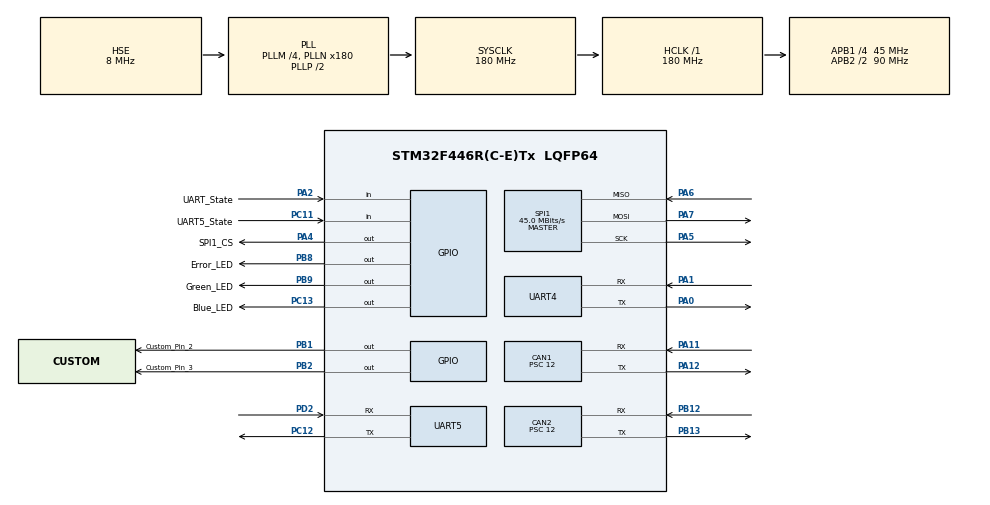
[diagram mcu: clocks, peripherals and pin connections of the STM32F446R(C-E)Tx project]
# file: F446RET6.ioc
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CAN1.BS1=CAN_BS1_11TQ
CAN1.BS2=CAN_BS2_3TQ
CAN1.CalculateBaudRate=250000
CAN1.CalculateTimeBit=4000
CAN1.CalculateTimeQuantum=266.66666666666663
CAN1.NART=ENABLE
CAN1.Prescaler=12
CAN1.TTCM=ENABLE
CAN2.BS1=CAN_BS1_11TQ
CAN2.BS2=CAN_BS2_3TQ
CAN2.CalculateBaudRate=250000
CAN2.CalculateTimeBit=4000
CAN2.CalculateTimeQuantum=266.66666666666663
CAN2.NART=ENABLE
CAN2.Prescaler=12
CAN2.TTCM=ENABLE
Dma.Request0=UART5_TX
Dma.UART5_TX.0.Direction=DMA_MEMORY_TO_PERIPH
Dma.UART5_TX.0.FIFOMode=DMA_FIFOMODE_DISABLE
Dma.UART5_TX.0.Instance=DMA1_Stream7
Dma.UART5_TX.0.MemDataAlignment=DMA_MDATAALIGN_BYTE
Dma.UART5_TX.0.MemInc=DMA_MINC_ENABLE
Dma.UART5_TX.0.Mode=DMA_NORMAL
Dma.UART5_TX.0.PeriphDataAlignment=DMA_PDATAALIGN_BYTE
Dma.UART5_TX.0.PeriphInc=DMA_PINC_DISABLE
Dma.UART5_TX.0.Priority=DMA_PRIORITY_LOW
Mcu.Family=STM32F4
Mcu.Name=STM32F446R(C-E)Tx
Mcu.Package=LQFP64
NVIC.CAN1_RX0_IRQn=true\:0\:0\:false\:false\:true\:true\:true\:true
NVIC.CAN1_RX1_IRQn=true\:0\:0\:false\:false\:true\:true\:true\:true
NVIC.CAN2_RX0_IRQn=true\:0\:0\:false\:false\:true\:true\:true\:true
NVIC.CAN2_RX1_IRQn=true\:0\:0\:false\:false\:true\:true\:true\:true
NVIC.DMA1_Stream7_IRQn=true\:0\:0\:false\:false\:true\:false\:true\:true
NVIC.PriorityGroup=NVIC_PRIORITYGROUP_4
NVIC.TIM8_TRG_COM_TIM14_IRQn=true\:0\:0\:false\:false\:true\:true\:true\:true
NVIC.UART4_IRQn=true\:0\:0\:false\:false\:true\:true\:true\:true
NVIC.UART5_IRQn=true\:0\:0\:false\:false\:true\:true\:true\:true
PA0-WKUP.Mode=Asynchronous
PA0-WKUP.Signal=UART4_TX
PA1.Mode=Asynchronous
PA1.Signal=UART4_RX
PA11.Mode=CAN_Activate
PA11.Signal=CAN1_RX
PA12.Mode=CAN_Activate
PA12.Signal=CAN1_TX
PA13.Mode=Serial_Wire
PA13.Signal=SYS_JTMS-SWDIO
PA14.Mode=Serial_Wire
PA14.Signal=SYS_JTCK-SWCLK
PA2.GPIO_Label=UART_State
PA2.Signal=GPIO_Input
PA4.GPIO_Label=SPI1_CS
PA4.Signal=GPIO_Output
PA5.Mode=Full_Duplex_Master
PA5.Signal=SPI1_SCK
PA6.Mode=Full_Duplex_Master
PA6.Signal=SPI1_MISO
PA7.Mode=Full_Duplex_Master
PA7.Signal=SPI1_MOSI
PB1.GPIO_Label=Custom_Pin_2
PB1.Signal=GPIO_Output
PB12.Mode=CAN_Activate
PB12.Signal=CAN2_RX
PB13.Mode=CAN_Activate
PB13.Signal=CAN2_TX
PB2.GPIO_Label=Custom_Pin_3
PB2.Signal=GPIO_Output
PB8.GPIO_Label=Error_LED
PB8.Signal=GPIO_Output
PB9.GPIO_Label=Green_LED
PB9.Signal=GPIO_Output
PC11.GPIO_Label=UART5_State
PC11.Signal=GPIO_Input
PC12.Mode=Asynchronous
PC12.Signal=UART5_TX
PC13.GPIO_Label=Blue_LED
PC13.Signal=GPIO_Output
PC14-OSC32_IN.Mode=LSE-External-Oscillator
PC14-OSC32_IN.Signal=RCC_OSC32_IN
PC15-OSC32_OUT.Mode=LSE-External-Oscillator
PC15-OSC32_OUT.Signal=RCC_OSC32_OUT
PD2.Mode=Asynchronous
PD2.Signal=UART5_RX
PH0-OSC_IN.Mode=HSE-External-Oscillator
PH0-OSC_IN.Signal=RCC_OSC_IN
PH1-OSC_OUT.Mode=HSE-External-Oscillator
PH1-OSC_OUT.Signal=RCC_OSC_OUT
ProjectManager.HeapSize=0x200
ProjectManager.StackSize=0x400
ProjectManager.TargetToolchain=MDK-ARM V5.32
RCC.AHBFreq_Value=180000000
RCC.APB1CLKDivider=RCC_HCLK_DIV4
RCC.APB1Freq_Value=45000000
RCC.APB1TimFreq_Value=90000000
RCC.APB2CLKDivider=RCC_HCLK_DIV2
RCC.APB2Freq_Value=90000000
RCC.APB2TimFreq_Value=180000000
RCC.CortexFreq_Value=180000000
RCC.HCLKFreq_Value=180000000
RCC.HSE_VALUE=8000000
RCC.PLLM=4
RCC.PLLN=180
RCC.PLLSourceVirtual=RCC_PLLSOURCE_HSE
RCC.SYSCLKFreq_VALUE=180000000
RCC.SYSCLKSource=RCC_SYSCLKSOURCE_PLLCLK
RCC.USBFreq_Value=180000000
RCC.VCOOutputFreq_Value=360000000
SPI1.CalculateBaudRate=45.0 MBits/s
SPI1.Direction=SPI_DIRECTION_2LINES
SPI1.Mode=SPI_MODE_MASTER
SPI1.VirtualType=VM_MASTER
TIM14.Period=1000-1
TIM14.Prescaler=9000-1
UART4.VirtualMode=Asynchronous
UART5.VirtualMode=Asynchronous
VP_TIM14_VS_ClockSourceINT.Mode=Enable_Timer
board=custom

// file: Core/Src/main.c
/* USER CODE BEGIN Header */
/**
  ******************************************************************************
  * @file           : main.c
  * @brief          : Main program body
  ******************************************************************************
  * @attention
  *
  * Copyright (c) 2024 STMicroelectronics.
  * All rights reserved.
  *
  * This software is licensed under terms that can be found in the LICENSE file
  * in the root directory of this software component.
  * If no LICENSE file comes with this software, it is provided AS-IS.
  *
  ******************************************************************************
  */
/* USER CODE END Header */
#include "main.h"

/* USER CODE BEGIN Includes */
#include <string.h>
#include <stdio.h>
#include <stdbool.h>
#include "math.h"

/* USER CODE END Includes */

/* USER CODE BEGIN PD */

	#define					SET								1
	#define					NULL							0

	#define					HEARTBEAT					0x01
	#define					CMD_MASK					0x01f
	#define					BT_READ						HAL_GPIO_ReadPin(UART_State_GPIO_Port,UART_State_Pin);

	#define					LSB												0
	#define					MSB	 											1
	#define					REMOTE										1
	#define					DATA											2
	#define					STEERING_BOUNDARY 				2
	#define					STEERING_HOMING_SPEED	 	15
	#define					STEERING_KP			 					3
	#define					STEERING_MAX_VEL					50

	#define					VELOCITY					0
	#define					TORQUE						1
	#define					VEL_LIMIT					2
	#define					MOT_ERROR					3
	#define					ENC_ERROR					4
	#define					IQ								5
	#define					ENC_EST						6
	#define					T_RAMP						7
	#define					REQ_STATE					8
	#define					SNL_ERROR					9
	#define					SENSL_EST					10

	#define					HEARTBEAT					0x01
	#define					VEL_ID						0x0D
	#define					TRQ_ID						0x0E
	#define					VLMT_ID						0x0F
	#define					MERR_ID						0x03
	#define					ENERR_ID					0x04
	#define					SNERR_ID					0x05
	#define					IQM_ID						0x14
	#define					ENEST_ID					0x009
	#define					T_RAMP_ID					0x1C
	#define					REQ_STATE_ID			0x07
	#define					SENS_EST					0x015
	#define					VOLTAGE					  0x017

/* USER CODE END PD */

CAN_HandleTypeDef hcan1;
CAN_HandleTypeDef hcan2;

SPI_HandleTypeDef hspi1;

TIM_HandleTypeDef htim14;

UART_HandleTypeDef huart4;
UART_HandleTypeDef huart5;
DMA_HandleTypeDef hdma_uart5_tx;

/* USER CODE BEGIN PV */
uint8_t BT_Rx[8];
bool BT_State=0 ,Prev_BT_State=0;
uint16_t BT_Count=0;

/* 							CAN_VARIABLES 						*/

CAN_TxHeaderTypeDef TxHeader;
CAN_RxHeaderTypeDef RxHeader;
CAN_TxHeaderTypeDef TxHeader2;
CAN_RxHeaderTypeDef RxHeader2;
uint8_t TxData[8];
uint8_t RxData[8];
uint8_t TxData2[8];
uint8_t RxData2[8];
uint8_t RxData2_Temp[8];
uint8_t RxData_Temp[8];
uint32_t TxMailbox, CAN_Count=0;
uint8_t Node_Id[23],PREV_Node_Id[22], Received_Node_Id=0, Received_Command_Id=0;
uint8_t Sensor_Id[10], Axis_State[20];
float Motor_Velocity[20], Rover_Voltage=0, Rover_Voltage_Temp=0;;uint8_t Motor_Error[20], Encoder_Error[20] , Motor_Current[20], Volt_Tx=0, Volt_Tx_Temp=0;
uint8_t LFD=1,LRD=2,RFD=3,RRD=4,LVert=5, RVert=6, Contour=7, LFS=8, LRS=9, RFS=10, RRS=11, L_Arm=12, R_Arm=13, P_Arm=14 , Upper_Width =16 , Lower_Width = 15, Cutter=17, Side_Belt = 18, Selective = 19, Paddle =20;

/* 							CAN_VARIABLES 						*/

/* 							JOYSTICK_VARIABLES 						*/
uint8_t Mode=1,Mode_Temp, Speed=1, Joystick=0, Steering_Mode=1, Shearing=0, Skiffing=0, Side_Trimmer=0, Pot_Angle=90, Joystick_Temp=0, Shearing_Temp=0, Steering_Mode_Temp=1, BT_Steer_Temp=0;
/* 							JOYSTICK_VARIABLES 						*/

float  Macro_Speed = 0, Macro_Speed_Temp=0;

/* 							DRIVE_WHEELS_VARIABLES 						*/
bool DRIVES_ERROR_FLAG = NULL;
float L_R_Err=0, R_R_Err=0, C_Err=0, Contour_Avg=0, Drive_Torque=1, Wheel_Torque = 3;
float Vel_Limit=1, Vel_Limit_Temp=1, Torque=0, Torque_Temp=0 , Prev_Torque=0, Prev_Vel_Limit=30;
int Left_Wheels_Torque =0, Left_Wheels_Torque_Temp=0;

/* 							DRIVE_WHEELS_VARIABLES 						*/

/* 							BT_VARIABLES 						*/
uint8_t BT_Rx[8], RxBuff[8];
/* 							BT_VARIABLES 						*/

float Absolute_Position[20];
int16_t Absolute_Position_Int[20];

/* USER CODE END PV */

void SystemClock_Config(void);
static void MX_GPIO_Init(void);
static void MX_DMA_Init(void);
static void MX_CAN1_Init(void);
static void MX_CAN2_Init(void);
static void MX_SPI1_Init(void);
static void MX_UART4_Init(void);
static void MX_UART5_Init(void);
static void MX_TIM14_Init(void);
/* USER CODE BEGIN PFP */

void Joystick_Reception(void);
void Wheel_Controls (void);
void Macro_Controls (void);

/* USER CODE END PFP */

/* USER CODE BEGIN 0 */

void CAN_Transmit ( uint8_t NODE, uint8_t Command, float Tx_Data,	uint8_t Data_Size, uint8_t Frame_Format)
{
//uint64_t BUFF;
	TxHeader.ExtId = NULL;

	TxHeader.TransmitGlobalTime = DISABLE;

	TxHeader.IDE = CAN_ID_STD;

	TxHeader.DLC	= Data_Size;

	TxHeader.RTR = (Frame_Format == REMOTE) ? (CAN_RTR_REMOTE) : (Frame_Format == DATA) ? (CAN_RTR_DATA):(CAN_RTR_REMOTE);

	switch (Command)
	{
		case VELOCITY:
									memcpy (TxData, &Tx_Data, Data_Size);
									TxHeader.StdId = (NODE << 5)| VEL_ID;
									break;

		case TORQUE:
									memcpy (TxData, &Tx_Data, Data_Size);
									TxHeader.StdId = (NODE << 5)| TRQ_ID;
							//	HAL_CAN_AddTxMessage(&hcan1, &TxHeader, TxData, &TxMailbox);
									break;

		case VEL_LIMIT:

									//TxData[6] = 0x20; for 40 amps//8C - 70//0x70-60 amps
									TxData[6] = 0x8C;
									TxData[7] = 0x42;
									memcpy (TxData, &Tx_Data, 4);
									TxHeader.DLC	= 8;
									TxHeader.StdId = (NODE << 5)| 0x00F;
									break;

		case MOT_ERROR:
									TxHeader.StdId = (NODE << 5)| MERR_ID;
									break;

		case ENC_ERROR:
									TxHeader.StdId = (NODE << 5)| ENERR_ID;
									break;

		case SNL_ERROR:
									TxHeader.StdId = (NODE << 5)| SNERR_ID;
									break;

		case IQ:
									TxHeader.StdId = (NODE << 5)| IQM_ID;
									break;

		case ENC_EST:
									TxHeader.StdId = (NODE << 5)| ENEST_ID;
									break;

		case T_RAMP:
									memcpy (TxData, &Tx_Data, Data_Size);
									TxHeader.StdId = (NODE << 5)| T_RAMP_ID;
									break;

		case SENSL_EST:
									memcpy (TxData, &Tx_Data, Data_Size);
									TxHeader.StdId = (NODE << 5)| 0x015;
									break;

		case REQ_STATE:
									break;

		case 0x017:
									TxHeader.StdId = (NODE << 5)| 0x017;
									break;

		default: break;

	}

		for ( uint8_t i=0 ; i<3; i++ )
	{

				HAL_CAN_AddTxMessage(&hcan2, &TxHeader, TxData, &TxMailbox);
				HAL_Delay(1);//optional
				CAN_Count++;
	}

	for ( uint8_t i=0 ; i<8; i++ )
	{
		TxData[i] = 0;
	}

}

float CAN_Reception(uint8_t byte_choice)
{
		float Can_Temp;

	if ( byte_choice == LSB )
	{
		for (int k=0; k<=3; k++)
		{
			RxBuff[k]= RxData2[k];
		}
		memcpy(&Can_Temp, RxBuff,4);

	}

	else if ( byte_choice == MSB )
	{
		for (int k=0; k<=3; k++)
		{
			RxBuff[k]= RxData2[k+4];
		}
		memcpy(&Can_Temp, RxBuff,4);

	}

	else { }

	return(Can_Temp);
}

void HAL_UART_RxCpltCallback(UART_HandleTypeDef *huart)
{
			HAL_UART_Receive_IT(&huart5,BT_Rx ,sizeof(BT_Rx));
			BT_Count++;
}

void Absolute_Position_Reception( uint8_t Node_Id )
{
  memcpy(&Absolute_Position[Node_Id],RxData2, sizeof(float));
	Absolute_Position_Int[Node_Id] = Absolute_Position[Node_Id];
}

void HAL_CAN_RxFifo1MsgPendingCallback(CAN_HandleTypeDef *hcan2)
{
	HAL_CAN_GetRxMessage(hcan2, CAN_RX_FIFO1, &RxHeader2, RxData2); // changed

	Received_Node_Id = RxHeader2.StdId >> 5;
	Received_Command_Id = RxHeader2.StdId & CMD_MASK;

	switch( Received_Command_Id )
	{
		case HEARTBEAT:  							Node_Id[Received_Node_Id]++;    Axis_State[Received_Node_Id] = RxData2[4]; break;

		case ENEST_ID:  							Motor_Velocity[Received_Node_Id]	= CAN_Reception(MSB);  Absolute_Position_Reception (	Received_Node_Id ); 	   break;

//		case SENS_EST:  							Motor_Velocity[Received_Node_Id]	= CAN_Reception(MSB); 				  			 	 break;
//
//		case MERR_ID:  								Motor_Error[Received_Node_Id]			= CAN_Reception(MSB); 								 	 break;
//
//		case ENERR_ID:  							Encoder_Error[Received_Node_Id]		= CAN_Reception(MSB); 					 			 	 break;
//
//		case SNERR_ID:  							Encoder_Error[Received_Node_Id]		= CAN_Reception(LSB); 					  		 	 break;
//
//		case IQM_ID:  								Motor_Current[Received_Node_Id]		= CAN_Reception(MSB); 					  		 	 break;
//
//		case VOLTAGE: 								memcpy(&Rover_Voltage, RxData2, 4);	 																		 	 break;

		default: 																																													  	 	 break;

	}
}

void Set_Motor_Torque ( uint8_t Axis , float Torque )
{
	Torque =  (Axis==0) || (Axis==3)? -Torque : Torque ;

	CAN_Transmit(Axis,TORQUE,-Torque,4,DATA);// osDelay(1);//5
}
void Set_Motor_Velocity ( uint8_t Axis , float Velocity )
{
//	if ( Axis == LFS ) 				CAN_Transmit(Axis,VELOCITY,Velocity,4,DATA);
//	else if ( Axis == LRS ) 	CAN_Transmit(Axis,VELOCITY,-Velocity,4,DATA);
//	else if ( Axis == RRS ) 	CAN_Transmit(Axis,VELOCITY,Velocity,4,DATA);
//	//else if ( Axis == 13 ) 	CAN_Transmit(Axis,VELOCITY,-Velocity,4,DATA);
//	else if (Axis >= 19){CAN_Transmit(Axis,VELOCITY,Velocity,4,DATA);}
		CAN_Transmit(Axis,VELOCITY,Velocity,4,DATA);//osDelay(10);

}
void Start_Calibration_For (int axis_id, int command_id, uint8_t loop_times)
{
				memcpy(TxData, &command_id, 4);
				TxHeader.DLC = 4;
				TxHeader.IDE = CAN_ID_STD;
				TxHeader.RTR = CAN_RTR_DATA;
				TxHeader.StdId = ( axis_id <<5) | 0x007 ;
			HAL_CAN_AddTxMessage(&hcan2, &TxHeader, TxData, &TxMailbox);HAL_Delay(20);
}

/* USER CODE END 0 */

int main(void)
{

  /* MCU Configuration--------------------------------------------------------*/

  /* Reset of all peripherals, Initializes the Flash interface and the Systick. */
  HAL_Init();

  /* Configure the system clock */
  SystemClock_Config();

  /* Initialize all configured peripherals */
  MX_GPIO_Init();
  MX_DMA_Init();
  MX_CAN1_Init();
  MX_CAN2_Init();
  MX_SPI1_Init();
  MX_UART4_Init();
  MX_UART5_Init();
  MX_TIM14_Init();
  /* USER CODE BEGIN 2 */

	HAL_Delay(600);
//	HAL_CAN_Start(&hcan1);HAL_Delay(100);
//	HAL_CAN_ActivateNotification(&hcan1, CAN_IT_RX_FIFO0_MSG_PENDING);
	HAL_CAN_Start(&hcan2);HAL_Delay(100);
	HAL_CAN_ActivateNotification(&hcan2, CAN_IT_RX_FIFO1_MSG_PENDING);

	for ( uint8_t i = 12 ; i < 14; i++ ) { Start_Calibration_For (i, 8, 5);}
	HAL_Delay(1000);

	/* UART INITS */
	MX_UART4_Init();
	MX_UART5_Init();
	HAL_UART_Receive_IT(&huart5,BT_Rx ,sizeof(BT_Rx));
	/* UART INITS */

  /* USER CODE END 2 */

  /* Infinite loop */
  /* USER CODE BEGIN WHILE */
  while (1)
  {
		Joystick_Reception();
		Macro_Controls();
		Wheel_Controls();
    /* USER CODE END WHILE */

  }
}

void SystemClock_Config(void)
{
  RCC_OscInitTypeDef RCC_OscInitStruct = {0};
  RCC_ClkInitTypeDef RCC_ClkInitStruct = {0};

  /** Configure the main internal regulator output voltage
  */
  __HAL_RCC_PWR_CLK_ENABLE();
  __HAL_PWR_VOLTAGESCALING_CONFIG(PWR_REGULATOR_VOLTAGE_SCALE1);

  /** Initializes the RCC Oscillators according to the specified parameters
  * in the RCC_OscInitTypeDef structure.
  */
  RCC_OscInitStruct.OscillatorType = RCC_OSCILLATORTYPE_HSE;
  RCC_OscInitStruct.HSEState = RCC_HSE_ON;
  RCC_OscInitStruct.PLL.PLLState = RCC_PLL_ON;
  RCC_OscInitStruct.PLL.PLLSource = RCC_PLLSOURCE_HSE;
  RCC_OscInitStruct.PLL.PLLM = 4;
  RCC_OscInitStruct.PLL.PLLN = 180;
  RCC_OscInitStruct.PLL.PLLP = RCC_PLLP_DIV2;
  RCC_OscInitStruct.PLL.PLLQ = 2;
  RCC_OscInitStruct.PLL.PLLR = 2;
  if (HAL_RCC_OscConfig(&RCC_OscInitStruct) != HAL_OK)
  {
    Error_Handler();
  }

  /** Activate the Over-Drive mode
  */
  if (HAL_PWREx_EnableOverDrive() != HAL_OK)
  {
    Error_Handler();
  }

  /** Initializes the CPU, AHB and APB buses clocks
  */
  RCC_ClkInitStruct.ClockType = RCC_CLOCKTYPE_HCLK|RCC_CLOCKTYPE_SYSCLK
                              |RCC_CLOCKTYPE_PCLK1|RCC_CLOCKTYPE_PCLK2;
  RCC_ClkInitStruct.SYSCLKSource = RCC_SYSCLKSOURCE_PLLCLK;
  RCC_ClkInitStruct.AHBCLKDivider = RCC_SYSCLK_DIV1;
  RCC_ClkInitStruct.APB1CLKDivider = RCC_HCLK_DIV4;
  RCC_ClkInitStruct.APB2CLKDivider = RCC_HCLK_DIV2;

  if (HAL_RCC_ClockConfig(&RCC_ClkInitStruct, FLASH_LATENCY_5) != HAL_OK)
  {
    Error_Handler();
  }
}

static void MX_CAN1_Init(void)
{

  hcan1.Instance = CAN1;
  hcan1.Init.Prescaler = 12;
  hcan1.Init.Mode = CAN_MODE_NORMAL;
  hcan1.Init.SyncJumpWidth = CAN_SJW_1TQ;
  hcan1.Init.TimeSeg1 = CAN_BS1_11TQ;
  hcan1.Init.TimeSeg2 = CAN_BS2_3TQ;
  hcan1.Init.TimeTriggeredMode = ENABLE;
  hcan1.Init.AutoBusOff = DISABLE;
  hcan1.Init.AutoWakeUp = DISABLE;
  hcan1.Init.AutoRetransmission = ENABLE;
  hcan1.Init.ReceiveFifoLocked = DISABLE;
  hcan1.Init.TransmitFifoPriority = DISABLE;
  if (HAL_CAN_Init(&hcan1) != HAL_OK)
  {
    Error_Handler();
  }
  /* USER CODE BEGIN CAN1_Init 2 */
			CAN_FilterTypeDef canfilterconfig;

	canfilterconfig.FilterActivation = CAN_FILTER_ENABLE;
	canfilterconfig.FilterBank = 0;	// which filter bank to use from the assigned ones
	canfilterconfig.FilterFIFOAssignment = CAN_FILTER_FIFO0;
	canfilterconfig.FilterIdHigh = 0x000<<5;
	canfilterconfig.FilterIdLow = 0;
	canfilterconfig.FilterMaskIdHigh = 0x000<<5;
	canfilterconfig.FilterMaskIdLow = 0x0000;
	canfilterconfig.FilterMode = CAN_FILTERMODE_IDMASK;
	canfilterconfig.FilterScale = CAN_FILTERSCALE_32BIT;
	canfilterconfig.SlaveStartFilterBank = 14; //14 // how many filters to assign to the CAN1 (master can)

	HAL_CAN_ConfigFilter(&hcan1, &canfilterconfig);

  /* USER CODE END CAN1_Init 2 */

}

static void MX_CAN2_Init(void)
{

  hcan2.Instance = CAN2;
  hcan2.Init.Prescaler = 12;
  hcan2.Init.Mode = CAN_MODE_NORMAL;
  hcan2.Init.SyncJumpWidth = CAN_SJW_1TQ;
  hcan2.Init.TimeSeg1 = CAN_BS1_11TQ;
  hcan2.Init.TimeSeg2 = CAN_BS2_3TQ;
  hcan2.Init.TimeTriggeredMode = ENABLE;
  hcan2.Init.AutoBusOff = DISABLE;
  hcan2.Init.AutoWakeUp = DISABLE;
  hcan2.Init.AutoRetransmission = ENABLE;
  hcan2.Init.ReceiveFifoLocked = DISABLE;
  hcan2.Init.TransmitFifoPriority = DISABLE;
  if (HAL_CAN_Init(&hcan2) != HAL_OK)
  {
    Error_Handler();
  }
  /* USER CODE BEGIN CAN2_Init 2 */

	CAN_FilterTypeDef canfilterconfig2;

	canfilterconfig2.FilterActivation = CAN_FILTER_ENABLE;
	canfilterconfig2.FilterBank = 14; //14 // which filter bank to use from the assigned ones
	canfilterconfig2.FilterFIFOAssignment = CAN_FILTER_FIFO1;
	canfilterconfig2.FilterIdHigh = 0x000<<5;
	canfilterconfig2.FilterIdLow = 0;
	canfilterconfig2.FilterMaskIdHigh = 0x000<<5;
	canfilterconfig2.FilterMaskIdLow = 0x0000;
	canfilterconfig2.FilterMode = CAN_FILTERMODE_IDMASK;
	canfilterconfig2.FilterScale = CAN_FILTERSCALE_32BIT;
	canfilterconfig2.SlaveStartFilterBank = 14;//14	// how many filters to assign to the CAN1 (master can)

	HAL_CAN_ConfigFilter(&hcan2, &canfilterconfig2);

  /* USER CODE END CAN2_Init 2 */

}

static void MX_SPI1_Init(void)
{

  /* SPI1 parameter configuration*/
  hspi1.Instance = SPI1;
  hspi1.Init.Mode = SPI_MODE_MASTER;
  hspi1.Init.Direction = SPI_DIRECTION_2LINES;
  hspi1.Init.DataSize = SPI_DATASIZE_8BIT;
  hspi1.Init.CLKPolarity = SPI_POLARITY_LOW;
  hspi1.Init.CLKPhase = SPI_PHASE_1EDGE;
  hspi1.Init.NSS = SPI_NSS_SOFT;
  hspi1.Init.BaudRatePrescaler = SPI_BAUDRATEPRESCALER_2;
  hspi1.Init.FirstBit = SPI_FIRSTBIT_MSB;
  hspi1.Init.TIMode = SPI_TIMODE_DISABLE;
  hspi1.Init.CRCCalculation = SPI_CRCCALCULATION_DISABLE;
  hspi1.Init.CRCPolynomial = 10;
  if (HAL_SPI_Init(&hspi1) != HAL_OK)
  {
    Error_Handler();
  }

}

static void MX_TIM14_Init(void)
{

  htim14.Instance = TIM14;
  htim14.Init.Prescaler = 9000-1;
  htim14.Init.CounterMode = TIM_COUNTERMODE_UP;
  htim14.Init.Period = 1000-1;
  htim14.Init.ClockDivision = TIM_CLOCKDIVISION_DIV1;
  htim14.Init.AutoReloadPreload = TIM_AUTORELOAD_PRELOAD_DISABLE;
  if (HAL_TIM_Base_Init(&htim14) != HAL_OK)
  {
    Error_Handler();
  }

}

static void MX_UART4_Init(void)
{

  huart4.Instance = UART4;
  huart4.Init.BaudRate = 115200;
  huart4.Init.WordLength = UART_WORDLENGTH_8B;
  huart4.Init.StopBits = UART_STOPBITS_1;
  huart4.Init.Parity = UART_PARITY_NONE;
  huart4.Init.Mode = UART_MODE_TX_RX;
  huart4.Init.HwFlowCtl = UART_HWCONTROL_NONE;
  huart4.Init.OverSampling = UART_OVERSAMPLING_16;
  if (HAL_UART_Init(&huart4) != HAL_OK)
  {
    Error_Handler();
  }

}

static void MX_UART5_Init(void)
{

  huart5.Instance = UART5;
  huart5.Init.BaudRate = 115200;
  huart5.Init.WordLength = UART_WORDLENGTH_8B;
  huart5.Init.StopBits = UART_STOPBITS_1;
  huart5.Init.Parity = UART_PARITY_NONE;
  huart5.Init.Mode = UART_MODE_TX_RX;
  huart5.Init.HwFlowCtl = UART_HWCONTROL_NONE;
  huart5.Init.OverSampling = UART_OVERSAMPLING_16;
  if (HAL_UART_Init(&huart5) != HAL_OK)
  {
    Error_Handler();
  }

}

static void MX_DMA_Init(void)
{

  /* DMA controller clock enable */
  __HAL_RCC_DMA1_CLK_ENABLE();

  /* DMA interrupt init */
  /* DMA1_Stream7_IRQn interrupt configuration */
  HAL_NVIC_SetPriority(DMA1_Stream7_IRQn, 0, 0);
  HAL_NVIC_EnableIRQ(DMA1_Stream7_IRQn);

}

static void MX_GPIO_Init(void)
{
  GPIO_InitTypeDef GPIO_InitStruct = {0};

  /* GPIO Ports Clock Enable */
  __HAL_RCC_GPIOC_CLK_ENABLE();
  __HAL_RCC_GPIOH_CLK_ENABLE();
  __HAL_RCC_GPIOA_CLK_ENABLE();
  __HAL_RCC_GPIOB_CLK_ENABLE();
  __HAL_RCC_GPIOD_CLK_ENABLE();

  /*Configure GPIO pin Output Level */
  HAL_GPIO_WritePin(Blue_LED_GPIO_Port, Blue_LED_Pin, GPIO_PIN_RESET);

  /*Configure GPIO pin Output Level */
  HAL_GPIO_WritePin(SPI1_CS_GPIO_Port, SPI1_CS_Pin, GPIO_PIN_RESET);

  /*Configure GPIO pin Output Level */
  HAL_GPIO_WritePin(GPIOB, Custom_Pin_2_Pin|Custom_Pin_3_Pin|Error_LED_Pin|Green_LED_Pin, GPIO_PIN_RESET);

  /*Configure GPIO pin : Blue_LED_Pin */
  GPIO_InitStruct.Pin = Blue_LED_Pin;
  GPIO_InitStruct.Mode = GPIO_MODE_OUTPUT_PP;
  GPIO_InitStruct.Pull = GPIO_NOPULL;
  GPIO_InitStruct.Speed = GPIO_SPEED_FREQ_LOW;
  HAL_GPIO_Init(Blue_LED_GPIO_Port, &GPIO_InitStruct);

  /*Configure GPIO pin : UART_State_Pin */
  GPIO_InitStruct.Pin = UART_State_Pin;
  GPIO_InitStruct.Mode = GPIO_MODE_INPUT;
  GPIO_InitStruct.Pull = GPIO_NOPULL;
  HAL_GPIO_Init(UART_State_GPIO_Port, &GPIO_InitStruct);

  /*Configure GPIO pin : SPI1_CS_Pin */
  GPIO_InitStruct.Pin = SPI1_CS_Pin;
  GPIO_InitStruct.Mode = GPIO_MODE_OUTPUT_PP;
  GPIO_InitStruct.Pull = GPIO_NOPULL;
  GPIO_InitStruct.Speed = GPIO_SPEED_FREQ_LOW;
  HAL_GPIO_Init(SPI1_CS_GPIO_Port, &GPIO_InitStruct);

  /*Configure GPIO pins : Custom_Pin_2_Pin Custom_Pin_3_Pin Error_LED_Pin Green_LED_Pin */
  GPIO_InitStruct.Pin = Custom_Pin_2_Pin|Custom_Pin_3_Pin|Error_LED_Pin|Green_LED_Pin;
  GPIO_InitStruct.Mode = GPIO_MODE_OUTPUT_PP;
  GPIO_InitStruct.Pull = GPIO_NOPULL;
  GPIO_InitStruct.Speed = GPIO_SPEED_FREQ_LOW;
  HAL_GPIO_Init(GPIOB, &GPIO_InitStruct);

  /*Configure GPIO pin : UART5_State_Pin */
  GPIO_InitStruct.Pin = UART5_State_Pin;
  GPIO_InitStruct.Mode = GPIO_MODE_INPUT;
  GPIO_InitStruct.Pull = GPIO_NOPULL;
  HAL_GPIO_Init(UART5_State_GPIO_Port, &GPIO_InitStruct);

}

/* USER CODE BEGIN 4 */

void Joystick_Reception(void)
{
	/*				JOYSTICK VALUES ASSIGNING								*/
	if (( BT_Rx[0] == 0xAA ) &&	( BT_Rx[7] == 0xFF ))
	{
		Mode 						 = BT_Rx[1];
		Speed 					 = BT_Rx[2]  != 0 ? BT_Rx[2] : Speed ;
		Steering_Mode 	 = BT_Rx[3];
		Pot_Angle        = BT_Rx[4];
		Joystick         = BT_Rx[5];
		Shearing				 = BT_Rx[6];

	}

		if( Steering_Mode == 0 ) Steering_Mode=1;

}

void Macro_Controls (void)
{
	if( Mode == 1 )
	{
			if ( Joystick_Temp != Joystick )
		{
			switch (Joystick)
			{
				case 0 :   Macro_Speed =  0; 				break;
				case 1 :   Macro_Speed =	10;				break;
				case 2 :   Macro_Speed = -10;				break;
				default :														break;
			}
			Joystick_Temp = Joystick;
		}

	}

	else {Macro_Speed = 0 ;}

	if ( Macro_Speed_Temp != Macro_Speed )
	{
		Set_Motor_Velocity ( 12, Macro_Speed ) ;
		Set_Motor_Velocity ( 13, Macro_Speed ) ;
		Macro_Speed_Temp = Macro_Speed;
	}
}

void Wheel_Controls (void)
{
	if (Mode == 2)
	{
		if ( Joystick_Temp != Joystick )
		{
			switch (Joystick)
			{
				case 0 :   Torque = NULL; 							break;
				case 1 :   Torque =	Wheel_Torque;				break;
				case 2 :   Torque =-Wheel_Torque;				break;
				default :																break;
			}
			Joystick_Temp = Joystick;
		}
	}
	else {Torque = 0;}

		if ( Torque_Temp != Torque )
		{
			for ( uint8_t i = 1 ; i < 4 ; i++ )
			{
				Set_Motor_Torque ( i , Torque );
			}
			Torque_Temp = Torque;
		}
}

/* USER CODE END 4 */

void Error_Handler(void)
{
  __disable_irq();
  while (1)
  {
  }
}
